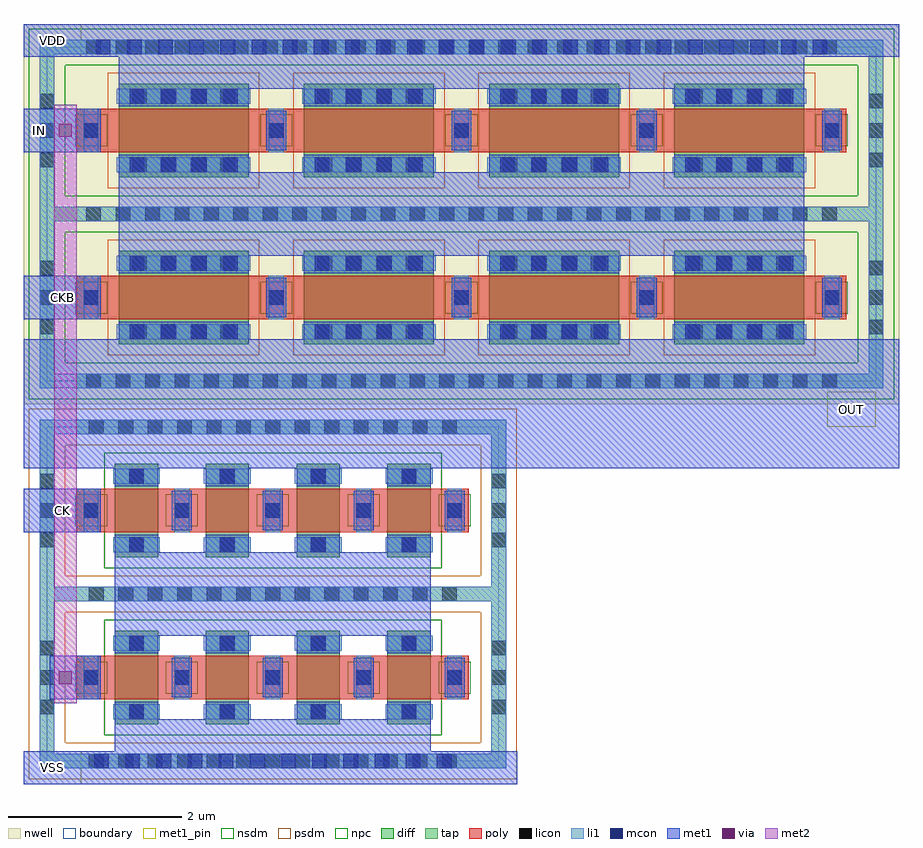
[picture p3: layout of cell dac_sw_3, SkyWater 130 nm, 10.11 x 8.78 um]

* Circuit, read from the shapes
.subckt dac_sw_3 CK CKB IN OUT VDD VSS
XM1 n1 IN VSS VSS sky130_fd_pr__nfet_01v8 w=0.5 l=0.5 m=4
XM2 OUT CK n1 VSS sky130_fd_pr__nfet_01v8 w=0.5 l=0.5 m=4
XM3 n2 CKB OUT VDD sky130_fd_pr__pfet_01v8 w=1.5 l=0.5 m=4
XM4 VDD IN n2 VDD sky130_fd_pr__pfet_01v8 w=1.5 l=0.5 m=4
.ends

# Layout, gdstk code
from math import pi, radians
import gdstk
lib = gdstk.Library(unit=1e-6, precision=1e-09)
def R(c, l, rs):  # rectangles x0, y0, x1, y1
    for r in rs: c.add(gdstk.rectangle(r[:2], r[2:], *l))
def A(c, l, x, y, w, h, nx, ny, dx, dy):  # array of equal rectangles
    R(c, l, [(x+i*dx, y+j*dy, x+i*dx+w, y+j*dy+h) for i in range(nx) for j in range(ny)])
nwell = (64, 20)
diff = (65, 20)
tap = (65, 44)
poly = (66, 20)
licon = (66, 44)
li1 = (67, 20)
mcon = (67, 44)
met1_pin = (68, 16)
met1 = (68, 20)
via = (68, 44)
met2 = (69, 20)
nsdm = (93, 44)
psdm = (94, 20)
npc = (95, 20)
boundary = (235, 4)

sky130_fd_pr__nfet_01v8_ = lib.new_cell('sky130_fd_pr__nfet_01v8_KT5VMN')
A(sky130_fd_pr__nfet_01v8_, diff, -0.54, -1.825, 1.08, 0.5, 1, 4, 0, 1.05)
R(sky130_fd_pr__nfet_01v8_, tap, [(-1.05,-2.695,1.05,-2.525), (-1.05,-2.525,-0.88,2.525), (0.88,-2.525,1.05,2.525), (-1.05,2.525,1.05,2.695)])
R(sky130_fd_pr__nfet_01v8_, poly, [(-0.25,-2.265,0.25,2.265)])
A(sky130_fd_pr__nfet_01v8_, licon, -0.425, -2.695, 0.17, 0.17, 3, 2, 0.34, 5.22)
A(sky130_fd_pr__nfet_01v8_, licon, -1.05, -2.125, 0.17, 0.17, 1, 6, 0, 0.34)
A(sky130_fd_pr__nfet_01v8_, licon, 0.88, -2.125, 0.17, 0.17, 1, 6, 0, 0.34)
A(sky130_fd_pr__nfet_01v8_, licon, -0.48, -1.66, 0.17, 0.17, 1, 4, 0, 1.05)
A(sky130_fd_pr__nfet_01v8_, licon, 0.31, -1.66, 0.17, 0.17, 1, 4, 0, 1.05)
A(sky130_fd_pr__nfet_01v8_, licon, -1.05, -0.085, 0.17, 0.17, 3, 1, 0.965, 0)
A(sky130_fd_pr__nfet_01v8_, licon, -1.05, 0.255, 0.17, 0.17, 1, 6, 0, 0.34)
A(sky130_fd_pr__nfet_01v8_, licon, 0.88, 0.255, 0.17, 0.17, 1, 6, 0, 0.34)
R(sky130_fd_pr__nfet_01v8_, licon, [(-0.085,-2.185,0.085,-2.015), (-0.085,-1.135,0.085,-0.965), (-0.085,0.965,0.085,1.135), (-0.085,2.015,0.085,2.185)])
A(sky130_fd_pr__nfet_01v8_, li1, -0.25, -2.185, 0.5, 0.17, 1, 5, 0, 1.05)
A(sky130_fd_pr__nfet_01v8_, li1, -0.48, -1.845, 0.17, 0.54, 1, 4, 0, 1.05)
A(sky130_fd_pr__nfet_01v8_, li1, 0.31, -1.845, 0.17, 0.54, 1, 4, 0, 1.05)
R(sky130_fd_pr__nfet_01v8_, li1, [(-1.05,-2.695,1.05,-2.525), (-1.05,-2.525,-0.88,2.525), (0.88,-2.525,1.05,2.525), (-1.05,2.525,1.05,2.695)])
A(sky130_fd_pr__nfet_01v8_, mcon, -0.085, -2.185, 0.17, 0.17, 1, 5, 0, 1.05)
A(sky130_fd_pr__nfet_01v8_, mcon, -0.48, -1.66, 0.17, 0.17, 1, 4, 0, 1.05)
A(sky130_fd_pr__nfet_01v8_, mcon, 0.31, -1.66, 0.17, 0.17, 1, 4, 0, 1.05)
A(sky130_fd_pr__nfet_01v8_, met1, -0.23, -2.215, 0.46, 0.23, 1, 5, 0, 1.05)
A(sky130_fd_pr__nfet_01v8_, met1, -0.51, -1.825, 0.23, 0.5, 1, 4, 0, 1.05)
A(sky130_fd_pr__nfet_01v8_, met1, 0.28, -1.825, 0.23, 0.5, 1, 4, 0, 1.05)
R(sky130_fd_pr__nfet_01v8_, nsdm, [(-0.665,-1.95,0.665,1.95)])
R(sky130_fd_pr__nfet_01v8_, psdm, [(-1.175,-2.82,1.175,-2.4), (-1.175,-2.4,-0.755,2.4), (0.755,-2.4,1.175,2.4), (-1.175,2.4,1.175,2.82)])
A(sky130_fd_pr__nfet_01v8_, npc, -0.185, -2.285, 0.37, 0.37, 1, 5, 0, 1.05)
R(sky130_fd_pr__nfet_01v8_, boundary, [(-0.965,-2.61,0.965,2.61)])

sky130_fd_pr__pfet_01v8_ = lib.new_cell('sky130_fd_pr__pfet_01v8_NMYCWJ')
R(sky130_fd_pr__pfet_01v8_, nwell, [(-1.23,-5.055,1.23,5.055)])
A(sky130_fd_pr__pfet_01v8_, diff, -0.54, -3.96, 1.08, 1.5, 1, 4, 0, 2.14)
R(sky130_fd_pr__pfet_01v8_, tap, [(-1.05,-4.875,1.05,-4.705), (-1.05,-4.705,-0.88,4.705), (0.88,-4.705,1.05,4.705), (-1.05,4.705,1.05,4.875)])
R(sky130_fd_pr__pfet_01v8_, poly, [(-0.25,-4.445,0.25,4.445)])
A(sky130_fd_pr__pfet_01v8_, licon, -0.425, -4.875, 0.17, 0.17, 3, 2, 0.34, 9.58)
A(sky130_fd_pr__pfet_01v8_, licon, -0.085, -4.365, 0.17, 0.17, 1, 5, 0, 2.14)
A(sky130_fd_pr__pfet_01v8_, licon, -1.05, -4.335, 0.17, 0.17, 1, 26, 0, 0.34)
A(sky130_fd_pr__pfet_01v8_, licon, 0.88, -4.335, 0.17, 0.17, 1, 26, 0, 0.34)
A(sky130_fd_pr__pfet_01v8_, licon, -0.48, -3.805, 0.17, 0.17, 1, 4, 0, 0.34)
A(sky130_fd_pr__pfet_01v8_, licon, 0.31, -3.805, 0.17, 0.17, 1, 4, 0, 0.34)
A(sky130_fd_pr__pfet_01v8_, licon, -0.48, -1.665, 0.17, 0.17, 1, 4, 0, 0.34)
A(sky130_fd_pr__pfet_01v8_, licon, 0.31, -1.665, 0.17, 0.17, 1, 4, 0, 0.34)
A(sky130_fd_pr__pfet_01v8_, licon, -0.48, 0.475, 0.17, 0.17, 1, 4, 0, 0.34)
A(sky130_fd_pr__pfet_01v8_, licon, 0.31, 0.475, 0.17, 0.17, 1, 4, 0, 0.34)
A(sky130_fd_pr__pfet_01v8_, licon, -0.48, 2.615, 0.17, 0.17, 1, 4, 0, 0.34)
A(sky130_fd_pr__pfet_01v8_, licon, 0.31, 2.615, 0.17, 0.17, 1, 4, 0, 0.34)
A(sky130_fd_pr__pfet_01v8_, li1, -0.25, -4.365, 0.5, 0.17, 1, 5, 0, 2.14)
A(sky130_fd_pr__pfet_01v8_, li1, -0.48, -3.98, 0.17, 1.54, 1, 4, 0, 2.14)
A(sky130_fd_pr__pfet_01v8_, li1, 0.31, -3.98, 0.17, 1.54, 1, 4, 0, 2.14)
R(sky130_fd_pr__pfet_01v8_, li1, [(-1.05,-4.875,1.05,-4.705), (-1.05,-4.705,-0.88,4.705), (0.88,-4.705,1.05,4.705), (-1.05,4.705,1.05,4.875)])
A(sky130_fd_pr__pfet_01v8_, mcon, -0.085, -4.365, 0.17, 0.17, 1, 5, 0, 2.14)
A(sky130_fd_pr__pfet_01v8_, mcon, -0.48, -3.835, 0.17, 0.17, 1, 4, 0, 0.36)
A(sky130_fd_pr__pfet_01v8_, mcon, 0.31, -3.835, 0.17, 0.17, 1, 4, 0, 0.36)
A(sky130_fd_pr__pfet_01v8_, mcon, -0.48, -1.695, 0.17, 0.17, 1, 4, 0, 0.36)
A(sky130_fd_pr__pfet_01v8_, mcon, 0.31, -1.695, 0.17, 0.17, 1, 4, 0, 0.36)
A(sky130_fd_pr__pfet_01v8_, mcon, -0.48, 0.445, 0.17, 0.17, 1, 4, 0, 0.36)
A(sky130_fd_pr__pfet_01v8_, mcon, 0.31, 0.445, 0.17, 0.17, 1, 4, 0, 0.36)
A(sky130_fd_pr__pfet_01v8_, mcon, -0.48, 2.585, 0.17, 0.17, 1, 4, 0, 0.36)
A(sky130_fd_pr__pfet_01v8_, mcon, 0.31, 2.585, 0.17, 0.17, 1, 4, 0, 0.36)
A(sky130_fd_pr__pfet_01v8_, met1, -0.23, -4.395, 0.46, 0.23, 1, 5, 0, 2.14)
A(sky130_fd_pr__pfet_01v8_, met1, -0.51, -3.96, 0.23, 1.5, 1, 4, 0, 2.14)
A(sky130_fd_pr__pfet_01v8_, met1, 0.28, -3.96, 0.23, 1.5, 1, 4, 0, 2.14)
R(sky130_fd_pr__pfet_01v8_, nsdm, [(-1.175,-5,1.175,-4.58), (-1.175,-4.58,-0.755,4.58), (0.755,-4.58,1.175,4.58), (-1.175,4.58,1.175,5)])
A(sky130_fd_pr__pfet_01v8_, psdm, -0.665, -4.085, 1.33, 1.75, 1, 4, 0, 2.14)
A(sky130_fd_pr__pfet_01v8_, npc, -0.185, -4.465, 0.37, 0.37, 1, 5, 0, 2.14)
R(sky130_fd_pr__pfet_01v8_, boundary, [(-0.965,-4.79,0.965,4.79)])

dac_sw_3 = lib.new_cell('dac_sw_3')
R(dac_sw_3, li1, [(1.19,-0.615,5.62,-0.445), (1.19,7.635,9.98,7.805)])
A(dac_sw_3, mcon, 1.34, -0.615, 0.17, 0.17, 12, 1, 0.36, 0)
A(dac_sw_3, mcon, 1.36, 7.635, 0.17, 0.17, 24, 1, 0.36, 0)
R(dac_sw_3, met1_pin, [(0.53,-0.795,1.19,-0.415), (0.53,2.115,1.42,2.615), (9.81,3.33,10.37,3.735), (0.53,4.575,1.42,5.075), (0.53,6.505,0.88,7.005), (0.53,7.605,1.19,7.985)])
R(dac_sw_3, met1, [(0.53,-0.795,6.23,-0.415), (1.58,-0.415,5.23,-0.045), (0.83,0.185,1.42,0.685), (1.58,0.915,5.23,1.885), (0.53,2.115,1.42,2.615), (0.53,2.85,10.64,4.345), (0.53,4.575,1.42,5.075), (1.625,5.305,9.545,6.275), (0.53,6.505,1.415,7.005), (1.625,7.235,9.545,7.605), (0.53,7.605,10.64,7.985)])
R(dac_sw_3, via, [(0.935,0.36,1.085,0.51), (0.935,6.68,1.085,6.83)])
R(dac_sw_3, met2, [(0.88,0.135,1.14,7.055)])
dac_sw_3.add(gdstk.Reference(sky130_fd_pr__nfet_01v8_, (3.405,2.365), rotation=3*pi/2))
dac_sw_3.add(gdstk.Reference(sky130_fd_pr__pfet_01v8_, (5.585,6.755), rotation=3*pi/2))
dac_sw_3.add(gdstk.Reference(sky130_fd_pr__pfet_01v8_, (5.585,4.825), rotation=3*pi/2))
dac_sw_3.add(gdstk.Reference(sky130_fd_pr__nfet_01v8_, (3.405,0.435), rotation=3*pi/2))
dac_sw_3.add(gdstk.Label('VDD', (0.86,7.795), layer=68, texttype=5))
dac_sw_3.add(gdstk.Label('IN', (0.705,6.755), layer=68, texttype=5))
dac_sw_3.add(gdstk.Label('CKB', (0.975,4.825), layer=68, texttype=5))
dac_sw_3.add(gdstk.Label('CK', (0.975,2.365), layer=68, texttype=5))
dac_sw_3.add(gdstk.Label('VSS', (0.86,-0.605), layer=68, texttype=5))
dac_sw_3.add(gdstk.Label('OUT', (10.09,3.532), layer=68, texttype=5))

lib.write_gds('dac_sw_3.gds')
